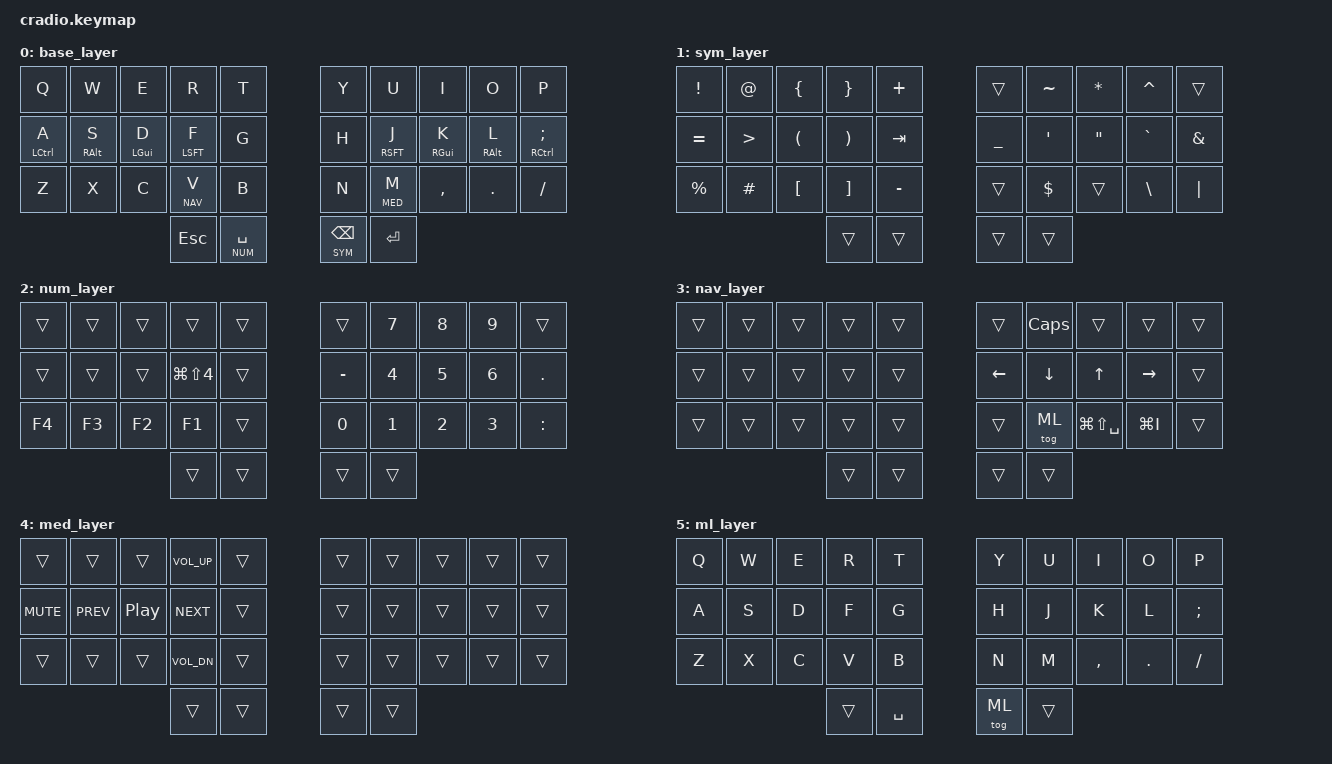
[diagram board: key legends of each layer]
#include <behaviors.dtsi>
#include <dt-bindings/zmk/keys.h>
#include <dt-bindings/zmk/bt.h>
#include <dt-bindings/zmk/outputs.h>

#define BASE 0
#define SYM  1
#define NUM  2
#define NAV  3
#define MED  4
#define ML   5

/ {
    combos {
        compatible = "zmk,combos";

        // D+F = '
        combo_quote {
            timeout-ms = <50>;
            key-positions = <12 13>;
            bindings = <&kp SQT>;
        };

        // J+K = enter
        combo_enter {
            timeout-ms = <50>;
            key-positions = <16 17>;
            bindings = <&kp ENTER>;
        };

        // S+F = tab
        combo_tab {
            timeout-ms = <50>;
            key-positions = <11 13>;
            bindings = <&kp TAB>;
        };

        // J+L = escape
        combo_escape {
            timeout-ms = <50>;
            key-positions = <16 18>;
            bindings = <&kp ESC>;
        };

        // M+, = -
        combo_minus {
            timeout-ms = <50>;
            key-positions = <26 27>;
            bindings = <&kp MINUS>;
        };

        // C+V = _
        combo_under {
            timeout-ms = <50>;
            key-positions = <22 23>;
            bindings = <&kp UNDER>;
        };

        // E+R+U+I = bootloader
        combo_boot {
            timeout-ms = <50>;
            key-positions = <2 3 6 7>;
            bindings = <&bootloader>;
        };
    };

    behaviors {
        hm: homerow_mods {
            compatible = "zmk,behavior-hold-tap";
            #binding-cells = <2>;
            tapping-term-ms = <200>;
            quick-tap-ms = <0>;
            flavor = "tap-preferred";
            bindings = <&kp>, <&kp>;
        };
    };

    keymap {
        compatible = "zmk,keymap";

        // Layer 0: Base
        base_layer {
            bindings = <
                &kp Q        &kp W        &kp E        &kp R        &kp T            &kp Y        &kp U        &kp I        &kp O        &kp P
                &hm LCTL A   &hm RALT S   &hm LGUI D   &hm LSFT F   &kp G            &kp H        &hm RSFT J   &hm RGUI K   &hm RALT L   &hm RCTL SEMI
                &kp Z        &kp X        &kp C        &lt NAV V    &kp B            &kp N        &lt MED M    &kp COMMA    &kp DOT      &kp SLASH
                                                        &kp ESC      &lt NUM SPC      &lt SYM BSPC &kp ENTER
            >;
        };

        // Layer 1: Symbols (right thumb hold)
        sym_layer {
            bindings = <
                &kp EXCL     &kp AT       &kp LBRC     &kp RBRC     &kp PLUS         &trans       &kp TILDE    &kp ASTRK    &kp CARET    &trans
                &kp EQUAL    &kp GT       &kp LPAR     &kp RPAR     &kp TAB          &kp UNDER    &kp SQT      &kp DQT      &kp GRAVE    &kp AMPS
                &kp PRCNT    &kp HASH     &kp LBKT     &kp RBKT     &kp MINUS        &trans       &kp DLLR     &trans       &kp BSLH     &kp PIPE
                                                        &trans       &trans           &trans       &trans
            >;
        };

        // Layer 2: Numbers (left thumb hold)
        num_layer {
            bindings = <
                &trans       &trans       &trans       &trans       &trans           &trans       &kp N7       &kp N8       &kp N9       &trans
                &trans       &trans       &trans       &kp LG(LS(N4)) &trans         &kp MINUS    &kp N4       &kp N5       &kp N6       &kp DOT
                &kp F4       &kp F3       &kp F2       &kp F1       &trans           &kp N0       &kp N1       &kp N2       &kp N3       &kp COLON
                                                        &trans       &trans           &trans       &trans
            >;
        };

        // Layer 3: Navigation (V hold)
        nav_layer {
            bindings = <
                &trans       &trans       &trans       &trans       &trans           &trans       &kp CAPS     &trans       &trans       &trans
                &trans       &trans       &trans       &trans       &trans           &kp LEFT     &kp DOWN     &kp UP       &kp RIGHT    &trans
                &trans       &trans       &trans       &trans       &trans           &trans       &tog ML      &kp LG(LS(SPC)) &kp LG(I) &trans
                                                        &trans       &trans           &trans       &trans
            >;
        };

        // Layer 4: Media (M hold)
        med_layer {
            bindings = <
                &trans       &trans       &trans       &kp C_VOL_UP &trans           &trans       &trans       &trans       &trans       &trans
                &kp C_MUTE   &kp C_PREV   &kp C_PP     &kp C_NEXT   &trans           &trans       &trans       &trans       &trans       &trans
                &trans       &trans       &trans       &kp C_VOL_DN &trans           &trans       &trans       &trans       &trans       &trans
                                                        &trans       &trans           &trans       &trans
            >;
        };

        // Layer 5: Mouseless — plain QWERTY, no mod-tap
        ml_layer {
            bindings = <
                &kp Q        &kp W        &kp E        &kp R        &kp T            &kp Y        &kp U        &kp I        &kp O        &kp P
                &kp A        &kp S        &kp D        &kp F        &kp G            &kp H        &kp J        &kp K        &kp L        &kp SEMI
                &kp Z        &kp X        &kp C        &kp V        &kp B            &kp N        &kp M        &kp COMMA    &kp DOT      &kp SLASH
                                                        &trans       &kp SPC          &tog ML      &trans
            >;
        };
    };
};
